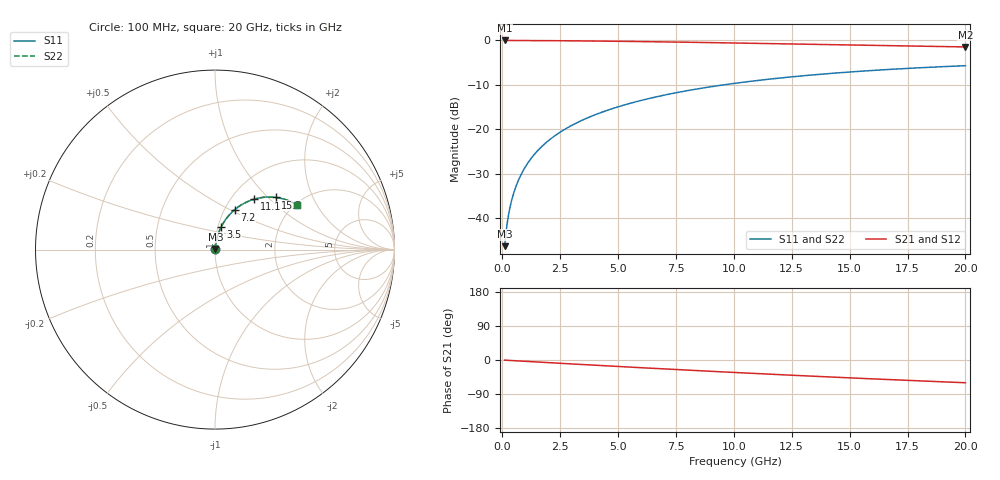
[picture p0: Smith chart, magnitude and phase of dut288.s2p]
! Touchstone file exported from HFSS 2026.1.0
!  File:  C:/ffzhzh/LocalFiles/Ansys_Project_Files/temp_train_TMRDL_288_1782985454_45328.aedt
!  Generated:  05:45:37 PM Jul  2, 2026
!  Design:  TMRDL
!  Project:  temp_train_TMRDL_288_1782985454_45328
! Variables:
!  h_bsmrdl = 2um
!  h_ox = 20um
!  h_rdl = 5um
!  h_sub = 80um
!  h_tmrdl = 5.88um
!  h_tsv = 80um
!  h_via = 3um
!  l_bsmrdl = 300um
!  l_sub = 1335.79um
!  l_tmrdl = 935.79um
!  m_sub = 200um
!  pitch = 57.7um
!  r_tsv = 6um
!  s_tmrdl = 10um
!  w_bsmrdl = 18um
!  w_sub = 500um
!  w_tmrdl = 21.84um
!  x_tsv_center1 = 946.71um
!  x_tsv_center2 = 1264.71um
!  x_tsv_center3 = 2222.34um
!  x_tsv_center4 = 2540.34um
!  x_tsv_center5 = 3497.97um
!  x_tsv_center6 = 3815.97um
# GHz S MA R 50.000000
! Terminal data exported
! Port[1] = TM_RDL1_1_T1
! Port[2] = TM_RDL1_1_T2
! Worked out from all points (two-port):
!   200 points, 100 MHz to 20 GHz, reference 50 ohm
!   highest |S21| = -0.02 dB at 100 MHz (marker M1); lowest = -1.5 dB at 20 GHz (marker M2)
!   |S21| within 3 dB of the highest: start of sweep to end of sweep
!   lowest |S11| = -46.3 dB at 100 MHz (marker M3), VSWR 1.01, Z = 50.3 + j0.402 ohm
!   |S11| at or under -10 dB: start of sweep to 9.568 GHz
!   |S22| runs from -46.3 to -5.7 dB; largest |S21 - S12| = 6.1e-15
!   S11 on the Smith chart (normalised r, x): 100 MHz: 1.01, +0.01; 3.5 GHz: 1.03, +0.26; 7.2 GHz: 1.12, +0.53; 11.1 GHz: 1.27, +0.81; 15.3 GHz: 1.54, +1.11; 20 GHz: 2.03, +1.39
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0.1  0.004858 55.3  0.9973 -0.4  0.9973 -0.4  0.004858 55.3
! Gamma 0 0 0 0
! Port Impedance 50 0 50 0
0.2  0.008426 69.0  0.9971 -0.7  0.9971 -0.7  0.008426 69.0
0.3  0.0121 74.2  0.9969 -1.1  0.9969 -1.1  0.0121 74.2
0.4  0.01578 76.9  0.9967 -1.4  0.9967 -1.4  0.01578 76.9
0.5  0.01947 78.5  0.9965 -1.8  0.9965 -1.8  0.01947 78.5
0.7  0.02688 80.1  0.9962 -2.5  0.9962 -2.5  0.02688 80.1
1  0.03803 80.9  0.9956 -3.5  0.9956 -3.5  0.03803 80.9
1.4  0.05285 80.7  0.9946 -4.9  0.9946 -4.9  0.05285 80.7
1.7  0.0639 80.2  0.9937 -6.0  0.9937 -6.0  0.0639 80.2
2  0.07486 79.5  0.9926 -7.0  0.9926 -7.0  0.07486 79.5
2.7  0.1001 77.5  0.9896 -9.4  0.9896 -9.4  0.1001 77.5
3.5  0.1282 75.1  0.9854 -12.1  0.9854 -12.1  0.1282 75.1
4.2  0.1522 72.9  0.9813 -14.4  0.9813 -14.4  0.1522 72.9
5  0.179 70.4  0.9761 -17.1  0.9761 -17.1  0.179 70.4
6.8  0.2363 64.9  0.9626 -22.9  0.9626 -22.9  0.2363 64.9
7.2  0.2485 63.7  0.9593 -24.2  0.9593 -24.2  0.2485 63.7
10.1  0.3304 55.0  0.9334 -33.2  0.9334 -33.2  0.3304 55.0
11.1  0.3558 52.2  0.9238 -36.1  0.9238 -36.1  0.3558 52.1
13.4  0.4086 45.7  0.9015 -42.7  0.9015 -42.7  0.4086 45.7
15.3  0.4464 40.6  0.8833 -48.0  0.8833 -48.0  0.4464 40.6
16.7  0.471 37.0  0.8705 -51.7  0.8705 -51.7  0.471 37.0
20  0.5188 28.8  0.8433 -60.0  0.8433 -60.0  0.5188 28.8
